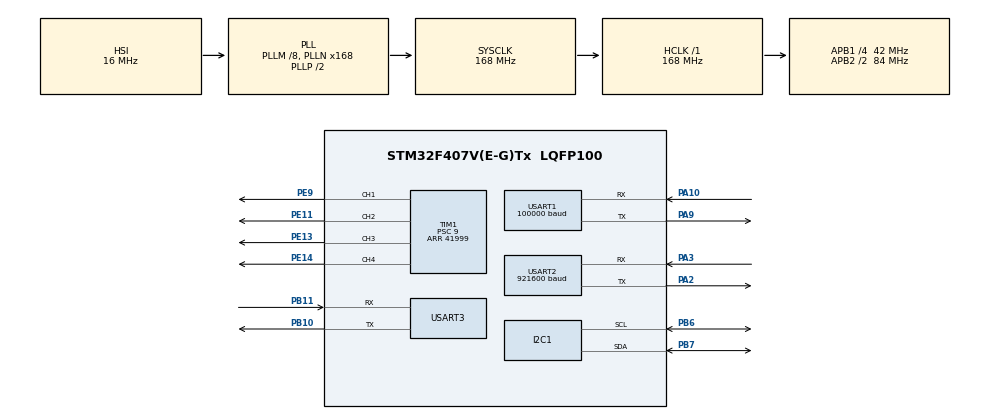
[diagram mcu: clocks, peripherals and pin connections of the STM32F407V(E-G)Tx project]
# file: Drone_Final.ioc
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Dma.Request0=USART1_RX
Dma.Request1=USART2_RX
Dma.Request2=USART3_RX
Dma.USART1_RX.0.Direction=DMA_PERIPH_TO_MEMORY
Dma.USART1_RX.0.FIFOMode=DMA_FIFOMODE_DISABLE
Dma.USART1_RX.0.Instance=DMA2_Stream2
Dma.USART1_RX.0.MemDataAlignment=DMA_MDATAALIGN_BYTE
Dma.USART1_RX.0.MemInc=DMA_MINC_ENABLE
Dma.USART1_RX.0.Mode=DMA_CIRCULAR
Dma.USART1_RX.0.PeriphDataAlignment=DMA_PDATAALIGN_BYTE
Dma.USART1_RX.0.PeriphInc=DMA_PINC_DISABLE
Dma.USART1_RX.0.Priority=DMA_PRIORITY_LOW
Dma.USART2_RX.1.Direction=DMA_PERIPH_TO_MEMORY
Dma.USART2_RX.1.FIFOMode=DMA_FIFOMODE_DISABLE
Dma.USART2_RX.1.Instance=DMA1_Stream5
Dma.USART2_RX.1.MemDataAlignment=DMA_MDATAALIGN_BYTE
Dma.USART2_RX.1.MemInc=DMA_MINC_ENABLE
Dma.USART2_RX.1.Mode=DMA_CIRCULAR
Dma.USART2_RX.1.PeriphDataAlignment=DMA_PDATAALIGN_BYTE
Dma.USART2_RX.1.PeriphInc=DMA_PINC_DISABLE
Dma.USART2_RX.1.Priority=DMA_PRIORITY_LOW
Dma.USART3_RX.2.Direction=DMA_PERIPH_TO_MEMORY
Dma.USART3_RX.2.FIFOMode=DMA_FIFOMODE_DISABLE
Dma.USART3_RX.2.Instance=DMA1_Stream1
Dma.USART3_RX.2.MemDataAlignment=DMA_MDATAALIGN_BYTE
Dma.USART3_RX.2.MemInc=DMA_MINC_ENABLE
Dma.USART3_RX.2.Mode=DMA_CIRCULAR
Dma.USART3_RX.2.PeriphDataAlignment=DMA_PDATAALIGN_BYTE
Dma.USART3_RX.2.PeriphInc=DMA_PINC_DISABLE
Dma.USART3_RX.2.Priority=DMA_PRIORITY_LOW
Mcu.Family=STM32F4
Mcu.Name=STM32F407V(E-G)Tx
Mcu.Package=LQFP100
NVIC.DMA1_Stream1_IRQn=true\:0\:0\:false\:false\:true\:false\:true
NVIC.DMA1_Stream5_IRQn=true\:0\:0\:false\:false\:true\:false\:true
NVIC.DMA2_Stream2_IRQn=true\:0\:0\:false\:false\:true\:false\:true
NVIC.PriorityGroup=NVIC_PRIORITYGROUP_4
NVIC.TIM6_DAC_IRQn=true\:0\:0\:false\:false\:true\:true\:true
NVIC.TIM7_IRQn=true\:0\:0\:false\:false\:true\:true\:true
PA10.Mode=Asynchronous
PA10.Signal=USART1_RX
PA13.Mode=Serial_Wire
PA13.Signal=SYS_JTMS-SWDIO
PA14.Mode=Serial_Wire
PA14.Signal=SYS_JTCK-SWCLK
PA2.Mode=Asynchronous
PA2.Signal=USART2_TX
PA3.Mode=Asynchronous
PA3.Signal=USART2_RX
PA9.Mode=Asynchronous
PA9.Signal=USART1_TX
PB10.Mode=Asynchronous
PB10.Signal=USART3_TX
PB11.Mode=Asynchronous
PB11.Signal=USART3_RX
PB6.Mode=I2C
PB6.Signal=I2C1_SCL
PB7.Mode=I2C
PB7.Signal=I2C1_SDA
PE11.Signal=S_TIM1_CH2
PE13.Signal=S_TIM1_CH3
PE14.Signal=S_TIM1_CH4
PE9.Signal=S_TIM1_CH1
PH0-OSC_IN.Mode=HSE-External-Oscillator
PH0-OSC_IN.Signal=RCC_OSC_IN
PH1-OSC_OUT.Mode=HSE-External-Oscillator
PH1-OSC_OUT.Signal=RCC_OSC_OUT
ProjectManager.HeapSize=0x200
ProjectManager.StackSize=0x400
ProjectManager.TargetToolchain=EWARM V8
RCC.48MHZClocksFreq_Value=84000000
RCC.AHBFreq_Value=168000000
RCC.APB1CLKDivider=RCC_HCLK_DIV4
RCC.APB1Freq_Value=42000000
RCC.APB1TimFreq_Value=84000000
RCC.APB2CLKDivider=RCC_HCLK_DIV2
RCC.APB2Freq_Value=84000000
RCC.APB2TimFreq_Value=168000000
RCC.CortexFreq_Value=168000000
RCC.HCLKFreq_Value=168000000
RCC.HSE_VALUE=25000000
RCC.HSI_VALUE=16000000
RCC.LSE_VALUE=32768
RCC.PLLM=8
RCC.PLLN=168
RCC.SYSCLKFreq_VALUE=168000000
RCC.SYSCLKSource=RCC_SYSCLKSOURCE_PLLCLK
RCC.VCOOutputFreq_Value=336000000
SH.S_TIM1_CH1.0=TIM1_CH1,PWM Generation1 CH1
SH.S_TIM1_CH2.0=TIM1_CH2,PWM Generation2 CH2
SH.S_TIM1_CH3.0=TIM1_CH3,PWM Generation3 CH3
SH.S_TIM1_CH4.0=TIM1_CH4,PWM Generation4 CH4
TIM1.Channel-PWM\ Generation1\ CH1=TIM_CHANNEL_1
TIM1.Channel-PWM\ Generation2\ CH2=TIM_CHANNEL_2
TIM1.Channel-PWM\ Generation3\ CH3=TIM_CHANNEL_3
TIM1.Channel-PWM\ Generation4\ CH4=TIM_CHANNEL_4
TIM1.Period=41999
TIM1.Prescaler=9
TIM6.Period=9
TIM6.Prescaler=8399
TIM7.Period=9999
TIM7.Prescaler=8399
USART1.BaudRate=100000
USART1.VirtualMode=VM_ASYNC
USART2.BaudRate=921600
USART2.VirtualMode=VM_ASYNC
USART3.VirtualMode=VM_ASYNC
VP_TIM1_VS_ClockSourceINT.Mode=Internal
VP_TIM6_VS_ClockSourceINT.Mode=Enable_Timer
VP_TIM7_VS_ClockSourceINT.Mode=Enable_Timer
board=custom

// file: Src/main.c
/* USER CODE BEGIN Header */
/**
  ******************************************************************************
  * @file           : main.c
  * @brief          : Main program body
  ******************************************************************************
  * @attention
  *
  * <h2><center>&copy; Copyright (c) 2019 STMicroelectronics.
  * All rights reserved.</center></h2>
  *
  * This software component is licensed by ST under BSD 3-Clause license,
  * the "License"; You may not use this file except in compliance with the
  * License. You may obtain a copy of the License at:
  *                        opensource.org/licenses/BSD-3-Clause
  *
  ******************************************************************************
  */
/* USER CODE END Header */

#include "main.h"
#include "dma.h"
#include "i2c.h"
#include "tim.h"
#include "usart.h"
#include "gpio.h"

/* USER CODE BEGIN Includes */
#include "rf.h"
#include "mti3.h"
#include "mixer.h"
#include "ms5611.h"
#include "alti_kf.h"
#include "r7008sb.h"
#include "controller.h"
#include "coordinate_transformation.h"
/* USER CODE END Includes */

void SystemClock_Config(void);

int main(void)
{

  /* MCU Configuration--------------------------------------------------------*/

  /* Reset of all peripherals, Initializes the Flash interface and the Systick. */
  HAL_Init();

  /* Configure the system clock */
  SystemClock_Config();

  /* Initialize all configured peripherals */
  MX_GPIO_Init();
  MX_DMA_Init();
  MX_TIM1_Init();
  MX_TIM6_Init();
  MX_TIM7_Init();
  MX_USART1_UART_Init();
  MX_USART2_UART_Init();
  MX_I2C1_Init();
  MX_USART3_UART_Init();
  /* USER CODE BEGIN 2 */
  r7008sb_ch_data[CH1] = 1024;
  r7008sb_ch_data[CH2] = 1024;
  r7008sb_ch_data[CH3] = 1696;
  r7008sb_ch_data[CH4] = 1024;

  reset_ms5611();
  read_prom();
  init_kf();
  init_pid_gain();

  calc_start_alt();

  //HAL_UART_Receive_DMA(&huart1, r7008sb_dma_buffer, R7008SB_DMA_LEN);
  HAL_UART_Receive_DMA(&huart2, mti3_dma_buffer, MTI3_DMA_LEN);
  HAL_UART_Receive_DMA(&huart3, rf_dma_buffer, RF_DMA_LEN);

  HAL_TIM_PWM_Start(&htim1, TIM_CHANNEL_1);
  HAL_TIM_PWM_Start(&htim1, TIM_CHANNEL_2);
  HAL_TIM_PWM_Start(&htim1, TIM_CHANNEL_3);
  HAL_TIM_PWM_Start(&htim1, TIM_CHANNEL_4);

  HAL_TIM_Base_Start_IT(&htim6);
  HAL_TIM_Base_Start_IT(&htim7);
  /* USER CODE END 2 */

  /* Infinite loop */
  while (1)
  {

  }
}

void SystemClock_Config(void)
{
  RCC_OscInitTypeDef RCC_OscInitStruct = {0};
  RCC_ClkInitTypeDef RCC_ClkInitStruct = {0};

  /** Configure the main internal regulator output voltage
  */
  __HAL_RCC_PWR_CLK_ENABLE();
  __HAL_PWR_VOLTAGESCALING_CONFIG(PWR_REGULATOR_VOLTAGE_SCALE1);
  /** Initializes the CPU, AHB and APB busses clocks
  */
  RCC_OscInitStruct.OscillatorType = RCC_OSCILLATORTYPE_HSI;
  RCC_OscInitStruct.HSIState = RCC_HSI_ON;
  RCC_OscInitStruct.HSICalibrationValue = RCC_HSICALIBRATION_DEFAULT;
  RCC_OscInitStruct.PLL.PLLState = RCC_PLL_ON;
  RCC_OscInitStruct.PLL.PLLSource = RCC_PLLSOURCE_HSI;
  RCC_OscInitStruct.PLL.PLLM = 8;
  RCC_OscInitStruct.PLL.PLLN = 168;
  RCC_OscInitStruct.PLL.PLLP = RCC_PLLP_DIV2;
  RCC_OscInitStruct.PLL.PLLQ = 4;
  if (HAL_RCC_OscConfig(&RCC_OscInitStruct) != HAL_OK)
  {
    Error_Handler();
  }
  /** Initializes the CPU, AHB and APB busses clocks
  */
  RCC_ClkInitStruct.ClockType = RCC_CLOCKTYPE_HCLK|RCC_CLOCKTYPE_SYSCLK
                              |RCC_CLOCKTYPE_PCLK1|RCC_CLOCKTYPE_PCLK2;
  RCC_ClkInitStruct.SYSCLKSource = RCC_SYSCLKSOURCE_PLLCLK;
  RCC_ClkInitStruct.AHBCLKDivider = RCC_SYSCLK_DIV1;
  RCC_ClkInitStruct.APB1CLKDivider = RCC_HCLK_DIV4;
  RCC_ClkInitStruct.APB2CLKDivider = RCC_HCLK_DIV2;

  if (HAL_RCC_ClockConfig(&RCC_ClkInitStruct, FLASH_LATENCY_5) != HAL_OK)
  {
    Error_Handler();
  }
}

/* USER CODE BEGIN 4 */
void HAL_TIM_PeriodElapsedCallback(TIM_HandleTypeDef *htim)
{
    if(htim -> Instance == TIM6)
    {
        //read_r7008sb();
        read_ms5611();
        read_mti3();
		read_rf();

		if(rf_decode_flag)
		{
			update_pid_gain();

			rf_decode_flag = 0;
		}

        if(mti3_decode_flag)
        {
			atti_pid_controller();
			mixer();

			mti3_decode_flag = 0;
        }

        if(ms5611_decode_flag)
        {
			cal_dcm(mti3.euler[ROLL], mti3.euler[PITCH], mti3.euler[YAW]);
			transform_body_to_ned(mti3.acc[ACC_X], mti3.acc[ACC_Y], mti3.acc[ACC_Z]);

			alti_kf();
			alti_pid_controller();

			//printf("%f\r\n", kf_alt.x_h);
			//printf("\r\n%f  %f\r\n%f  %f\r\n\r\n", kf_alt.P[0][0], kf_alt.P[0][1], kf_alt.P[1][0], kf_alt.P[1][1]);
			mixer();

			ms5611_decode_flag = 0;
        }
    }
    else if(htim -> Instance == TIM7)
    {

    }
}
/* USER CODE END 4 */

void Error_Handler(void)
{
}

/************************ (C) COPYRIGHT STMicroelectronics *****END OF FILE****/
